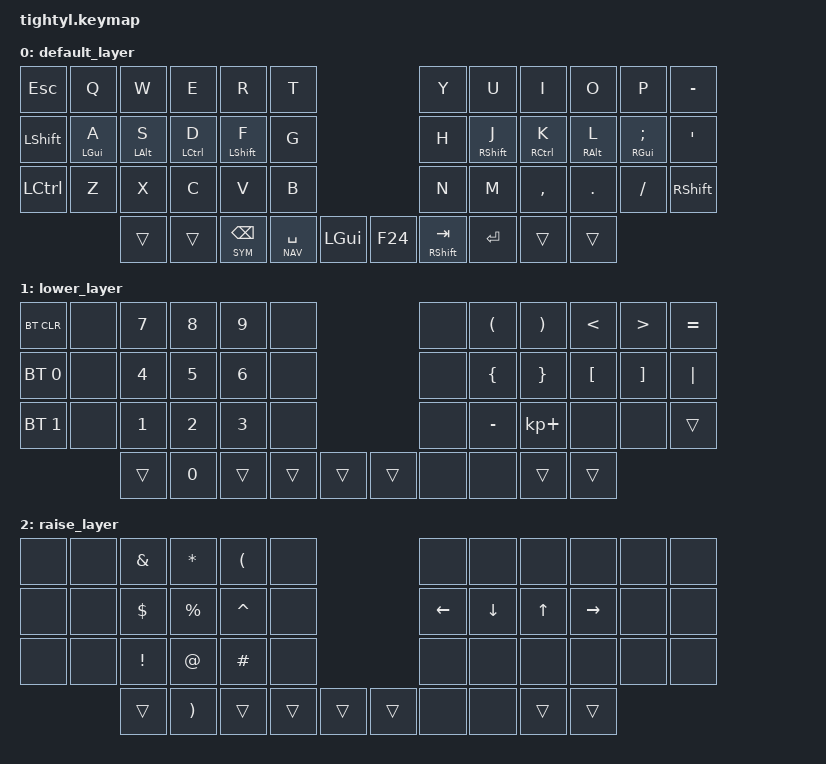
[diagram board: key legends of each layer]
#include <behaviors.dtsi>
#include <dt-bindings/zmk/keys.h>
#include <dt-bindings/zmk/bt.h>

#define BASE 0
#define SYM 1
#define NAV 2

#define SPCTRL &sp LCTRL SPACE
#define SHFTAB &mt RSHFT TAB
#define BSPC_SYM &lt SYM BSPC
#define SPACE_NAV &lt NAV SPACE


#define GUI_A &hm LGUI A
#define ALT_S &hm LALT S
#define CTRL_D &hm LCTRL D
#define SHFT_F &hm LSHFT F

#define SHFT_J &hm RSHFT J
#define CTRL_K &hm RCTRL K
#define ALT_L &hm RALT L
#define GUI_SEMI &hm RGUI SEMI

&lt {
	quick-tap-ms = <300>;
};

/ {
    behaviors {
        sp: space_modtap {
            compatible = "zmk,behavior-hold-tap";
            label = "SPACE_MODTAP";
            #binding-cells = <2>;
            tapping-term-ms = <400>;
            quick_tap_ms = <0>;
            flavor = "tap-preferred";
            bindings = <&kp>, <&kp>;
        };

	hm: homerow_mods {
	    compatible = "zmk,behavior-hold-tap";
	    label = "HOMEROW_MODS";
            #binding-cells = <2>;
	    tapping_term_ms = <200>;
	    flavor = "tap-preferred";
	    bindings = <&kp>, <&kp>;
	};
    };

	keymap {
		compatible = "zmk,keymap";

		default_layer {
			bindings = <
/* ╭─────────────┬─────────────┬─────────────┬─────────────┬─────────────┬─────────────╮                                   ╭─────────────┬─────────────┬─────────────┬─────────────┬─────────────┬─────────────╮  */
       &kp ESC        &kp Q        &kp W          &kp E         &kp R         &kp T                                             &kp Y         &kp U         &kp I         &kp O         &kp P       &kp MINUS
/* ├─────────────┼─────────────┼─────────────┼─────────────┼─────────────┼─────────────┤                                   ├─────────────┼─────────────┼─────────────┼─────────────┼─────────────┼─────────────┤  */
      &kp LSHFT       GUI_A        ALT_S          CTRL_D       SHFT_F         &kp G                                             &kp H        SHFT_J       CTRL_K         ALT_L        GUI_SEMI     &kp SQT
/* ├─────────────┼─────────────┼─────────────┼─────────────┼─────────────┼─────────────┤                                   ├─────────────┼─────────────┼─────────────┼─────────────┼─────────────┼─────────────┤  */      
      &kp LCTRL       &kp Z        &kp X          &kp C         &kp V         &kp B                                             &kp N         &kp M       &kp COMMA      &kp DOT       &kp FSLH    &kp RSHFT
/* ╰─────────────┴─────────────┼─────────────┼─────────────┼─────────────┴─────────────┴───────────────╮   ╭───────────────┴─────────────┴─────────────┼─────────────┼─────────────┼─────────────┼─────────────╯  */
                                   &trans         &trans        BSPC_SYM      SPACE_NAV     &kp LGUI           &kp F24        SHFTAB        &kp RET        &trans       &trans
//                             ╰─────────────┴─────────────┴────────────────┴────────────┴─────────────╯   ╰─────────────┴─────────────┴────────────────┴────────────┴─────────────╯ 
			>;
		};

        lower_layer {
            bindings = <
/* ╭─────────────┬─────────────┬─────────────┬─────────────┬─────────────┬─────────────╮                                   ╭─────────────┬─────────────┬─────────────┬─────────────┬─────────────┬─────────────╮  */
      &bt BT_CLR      &none        &kp N7        &kp N8        &kp N9         &none                                             &none       &kp LPAR      &kp RPAR        &kp LT        &kp GT      &kp EQUAL
/* ├─────────────┼─────────────┼─────────────┼─────────────┼─────────────┼─────────────┤                                   ├─────────────┼─────────────┼─────────────┼─────────────┼─────────────┼─────────────┤  */
     &bt BT_SEL 0     &none        &kp N4        &kp N5        &kp N6         &none                                             &none       &kp LBRC      &kp RBRC      &kp LBKT       &kp RBKT     &kp PIPE
/* ├─────────────┼─────────────┼─────────────┼─────────────┼─────────────┼─────────────┤                                   ├─────────────┼─────────────┼─────────────┼─────────────┼─────────────┼─────────────┤  */
     &bt BT_SEL 1     &none        &kp N1        &kp N2        &kp N3         &none                                             &none       &kp MINUS    &kp KP_PLUS     &none          &none        &trans
/* ╰─────────────┴─────────────┼─────────────┼─────────────┼─────────────┴─────────────┴───────────────╮   ╭───────────────┴─────────────┴─────────────┼─────────────┼─────────────┼─────────────┼─────────────╯  */
                                   &trans        &kp N0          &trans         &trans       &trans            &trans         &none         &none          &trans        &trans
/*                             ╰─────────────┴─────────────┴────────────────┴────────────┴─────────────╯   ╰─────────────┴─────────────┴────────────────┴────────────┴─────────────╯                              */ 
            >;
        };

        raise_layer {
            bindings = <
/* ╭─────────────┬─────────────┬─────────────┬─────────────┬─────────────┬─────────────╮                                   ╭─────────────┬─────────────┬─────────────┬─────────────┬─────────────┬─────────────╮  */
        &none         &none     &kp AMPERSAND  &kp ASTERISK   &kp LPAR        &none                                             &none         &none         &none         &none         &none         &none
/* ├─────────────┼─────────────┼─────────────┼─────────────┼─────────────┼─────────────┤                                   ├─────────────┼─────────────┼─────────────┼─────────────┼─────────────┼─────────────┤  */
        &none         &none       &kp DOLLAR   &kp PERCENT   &kp CARET        &none                                            &kp LEFT      &kp DOWN      &kp UP      &kp RIGHT        &none         &none
/* ├─────────────┼─────────────┼─────────────┼─────────────┼─────────────┼─────────────┤                                   ├─────────────┼─────────────┼─────────────┼─────────────┼─────────────┼─────────────┤  */
        &none         &none        &kp EXCL      &kp AT       &kp HASH        &none                                             &none        &none          &none         &none         &none         &none
/* ╰─────────────┴─────────────┼─────────────┼─────────────┼─────────────┴─────────────┴───────────────╮   ╭───────────────┴─────────────┴─────────────┼─────────────┼─────────────┼─────────────┼─────────────╯  */
                                    &trans       &kp RPAR        &trans         &trans       &trans             &trans        &none          &none         &trans        &trans
/*                             ╰─────────────┴─────────────┴────────────────┴────────────┴─────────────╯   ╰─────────────┴─────────────┴────────────────┴────────────┴─────────────╯                              */ 
            >;
        };
	};
};
